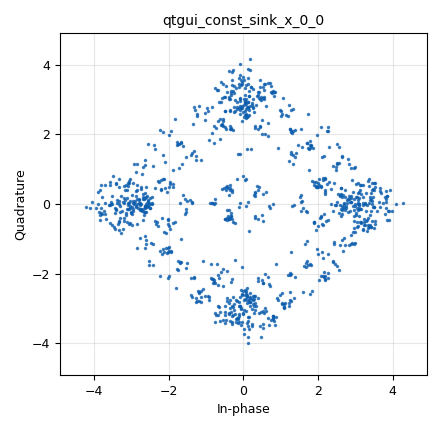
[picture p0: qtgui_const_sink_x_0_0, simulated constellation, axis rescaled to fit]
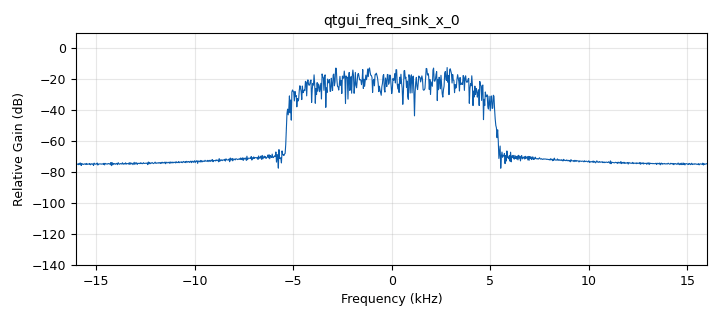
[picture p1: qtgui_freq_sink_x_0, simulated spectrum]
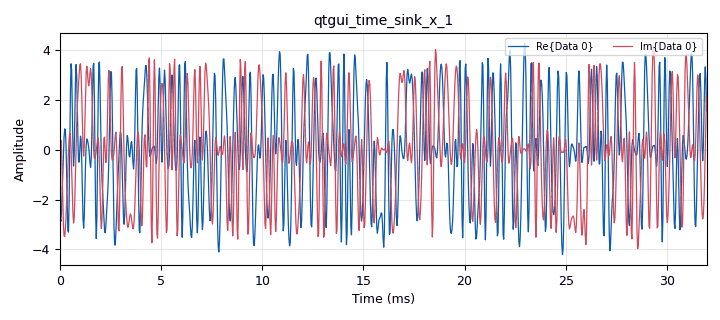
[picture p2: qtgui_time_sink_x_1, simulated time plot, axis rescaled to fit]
options:
  parameters:
    category: Custom
    generate_options: qt_gui
    id: top_block
    output_language: python
    qt_qss_theme: share/gnuradio/examples/qt-gui/dark.qss
  states: {}

blocks:
- name: QPSK
  id: variable_constellation
  parameters:
    precision: '8'
    type: dqpsk
  states: {}
- name: const_points
  id: variable
  parameters:
    value: '256'
  states: {}
- name: excess_bw
  id: variable
  parameters:
    value: '0.35'
  states: {}
- name: freq_off
  id: variable_qtgui_range
  parameters:
    orient: Qt.Horizontal
    start: '-0.1'
    step: '0.001'
    stop: '0.1'
    value: '0'
  states: {}
- name: noise_volt
  id: variable_qtgui_range
  parameters:
    orient: Qt.Horizontal
    start: '0'
    step: '0.01'
    stop: '1'
    value: '100e-6'
  states: {}
- name: samp_rate
  id: variable
  parameters:
    value: 32e3
  states: {}
- name: sps
  id: variable
  parameters:
    value: '4'
  states: {}
- name: taps
  id: variable
  parameters:
    value: '1'
  states: {}
- name: time_off
  id: variable_qtgui_range
  parameters:
    orient: Qt.Horizontal
    start: '0.999'
    step: '100e-6'
    stop: '1.001'
    value: '1'
  states: {}
- name: analog_random_source_x_0
  id: analog_random_source_x
  parameters:
    max: const_points
    min: '0'
    num_samps: '100'
    repeat: 'True'
    type: byte
  states: {}
- name: blocks_throttle_0
  id: blocks_throttle
  parameters:
    samples_per_second: samp_rate
    type: byte
  states: {state: disabled}
- name: blocks_throttle_0_0
  id: blocks_throttle
  parameters:
    samples_per_second: samp_rate
    type: complex
  states: {}
- name: blocks_uchar_to_float_0
  id: blocks_uchar_to_float
  parameters: {}
  states: {state: disabled}
- name: channels_channel_model_0
  id: channels_channel_model
  parameters:
    block_tags: 'True'
    epsilon: time_off
    freq_offset: freq_off
    noise_voltage: noise_volt
    seed: '0'
    taps: 1.0 + 1.0j
  states: {}
- name: const
  id: digital_constellation_modulator
  parameters:
    constellation: QPSK
    differential: 'True'
    excess_bw: excess_bw
    samples_per_symbol: sps
  states: {}
- name: qtgui_const_sink_x_0
  id: qtgui_const_sink_x
  parameters:
    color1: '"green"'
    gui_hint: 0,1
    marker1: '1'
    size: '1024'
    type: complex
  states: {state: disabled}
- name: qtgui_const_sink_x_0_0
  id: qtgui_const_sink_x
  parameters:
    alias: dots
    color1: '"red"'
    gui_hint: 0,1
    size: '1024'
    type: complex
  states: {}
- name: qtgui_freq_sink_x_0
  id: qtgui_freq_sink_x
  parameters:
    bw: samp_rate
    fc: '0'
    fftsize: '1024'
    showports: 'True'
    type: complex
    wintype: firdes.WIN_HAMMING
  states: {}
- name: qtgui_freq_sink_x_1
  id: qtgui_freq_sink_x
  parameters:
    bw: samp_rate
    fc: '0'
    fftsize: '1024'
    gui_hint: 0,0
    showports: 'True'
    type: complex
    wintype: firdes.WIN_BLACKMAN_hARRIS
  states: {state: disabled}
- name: qtgui_histogram_sink_x_0
  id: qtgui_histogram_sink_x
  parameters:
    bins: '256'
    size: '100'
    type: float
    xmax: '256'
    xmin: '0'
  states: {state: disabled}
- name: qtgui_time_sink_x_0
  id: qtgui_time_sink_x
  parameters:
    autoscale: 'True'
    label1: ''
    size: '1024'
    srate: samp_rate
    type: float
  states: {state: disabled}
- name: qtgui_time_sink_x_1
  id: qtgui_time_sink_x
  parameters:
    gui_hint: 0,0
    label1: ''
    label2: ''
    size: '1024'
    srate: samp_rate
    style1: '3'
    style2: '3'
    type: complex
  states: {}

connections:
- [analog_random_source_x_0, '0', blocks_throttle_0, '0']
- [analog_random_source_x_0, '0', const, '0']
- [blocks_throttle_0, '0', blocks_uchar_to_float_0, '0']
- [blocks_throttle_0_0, '0', channels_channel_model_0, '0']
- [blocks_throttle_0_0, '0', qtgui_const_sink_x_0, '0']
- [blocks_throttle_0_0, '0', qtgui_freq_sink_x_1, '0']
- [blocks_uchar_to_float_0, '0', qtgui_histogram_sink_x_0, '0']
- [blocks_uchar_to_float_0, '0', qtgui_time_sink_x_0, '0']
- [channels_channel_model_0, '0', qtgui_const_sink_x_0_0, '0']
- [channels_channel_model_0, '0', qtgui_freq_sink_x_0, '0']
- [channels_channel_model_0, '0', qtgui_time_sink_x_1, '0']
- [const, '0', blocks_throttle_0_0, '0']

metadata:
  file_format: 1
